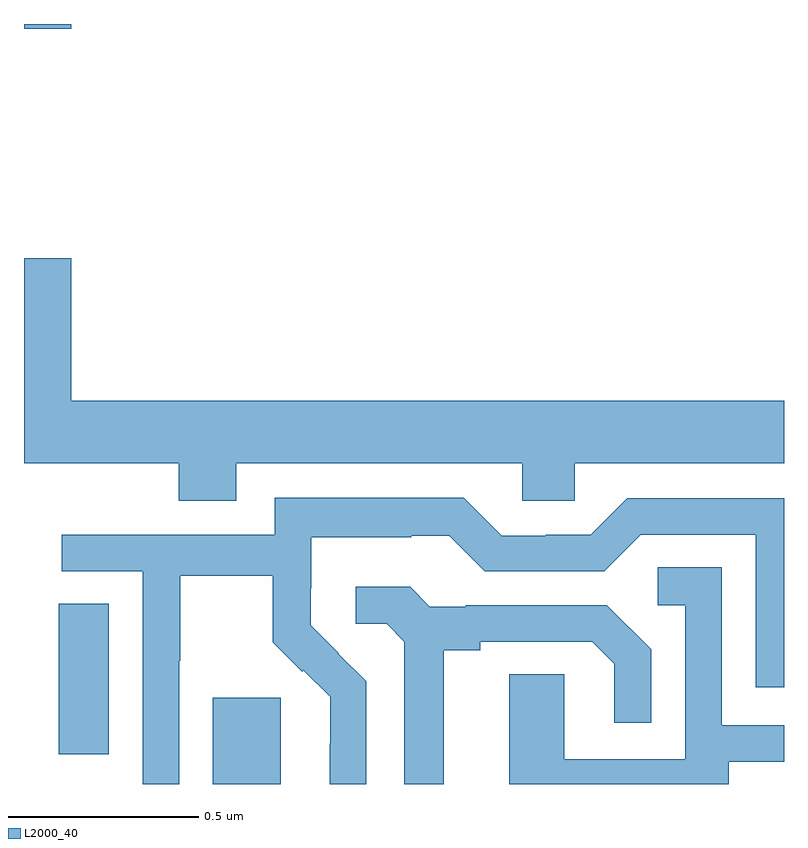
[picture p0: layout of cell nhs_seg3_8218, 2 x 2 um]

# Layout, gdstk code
import gdstk
lib = gdstk.Library(unit=1e-6, precision=1e-09)
def R(c, l, rs):  # rectangles x0, y0, x1, y1
    for r in rs: c.add(gdstk.rectangle(r[:2], r[2:], *l))
def P(c, l, *ps):  # polygons
    for p in ps: c.add(gdstk.Polygon(p, *l))
L2000_40 = (2000, 40)

nhs_seg3_8218 = lib.new_cell('nhs_seg3_8218')
R(nhs_seg3_8218, L2000_40, [(213.497,705.4,213.676,705.627), (213.092,705.478,213.223,705.875), (213,707.388,213.124,707.4)])
P(nhs_seg3_8218, L2000_40, [(213.559,706.244),(214.311,706.244),(214.311,706.146),(214.449,706.146),(214.449,706.244),(215,706.244),(215,706.408),(213.124,706.408),(213.124,706.783),(213,706.783),(213,706.244),(213.407,706.244),(213.407,706.145),(213.559,706.145)],
  [(213.408,705.724),(213.411,705.724),(213.411,705.948),(213.655,705.948),(213.655,705.773),(213.732,705.696),(213.735,705.699),(213.806,705.629),(213.806,705.506),(213.804,705.506),(213.804,705.4),(213.9,705.4),(213.9,705.67),(213.827,705.743),(213.828,705.744),(213.754,705.818),(213.754,705.915),(213.756,705.915),(213.756,706.049),(214.019,706.049),(214.019,706.053),(214.119,706.053),(214.212,705.96),(214.527,705.96),(214.623,706.056),(214.926,706.056),(214.926,705.654),(215,705.654),(215,706.152),(214.587,706.152),(214.491,706.056),(214.373,706.056),(214.373,706.053),(214.257,706.053),(214.157,706.153),(213.66,706.153),(213.66,706.056),(213.099,706.056),(213.099,705.96),(213.312,705.96),(213.312,705.4),(213.408,705.4)],
  [(214.855,705.459),(215,705.459),(215,705.555),(214.836,705.555),(214.836,705.971),(214.668,705.971),(214.668,705.87),(214.74,705.87),(214.74,705.465),(214.422,705.465),(214.422,705.689),(214.277,705.689),(214.277,705.4),(214.855,705.4)],
  [(214.105,705.752),(214.201,705.752),(214.201,705.774),(214.496,705.774),(214.553,705.717),(214.553,705.561),(214.65,705.561),(214.65,705.754),(214.534,705.87),(214.162,705.87),(214.162,705.867),(214.068,705.867),(214.016,705.919),(213.873,705.919),(213.873,705.822),(213.954,705.822),(214.001,705.775),(214.001,705.4),(214.105,705.4)])

lib.write_gds('nhs_seg3_8218.gds')
